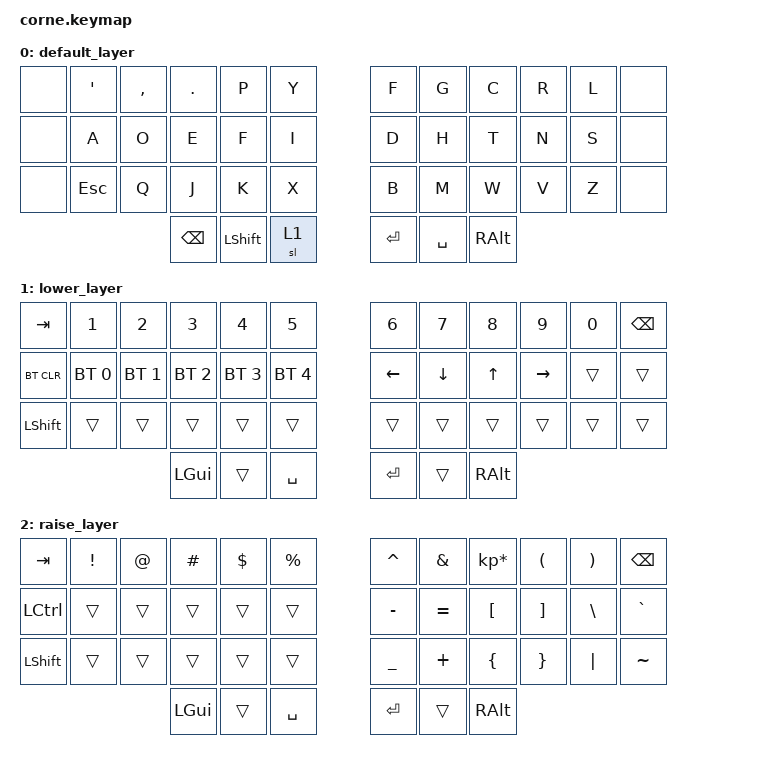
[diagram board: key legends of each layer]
/*
 * Copyright (c) 2020 The ZMK Contributors
 *
 * SPDX-License-Identifier: MIT
 */

#include <behaviors.dtsi>
#include <dt-bindings/zmk/bt.h>
#include <dt-bindings/zmk/keys.h>

/ {
    keymap {
        compatible = "zmk,keymap";

        default_layer {
            // -----------------------------------------------------------------------------------------
            // |  TAB |  Q  |  W  |  E  |  R  |  T  |   |  Y  |  U   |  I  |  O  |  P  | BKSP |
            // | CTRL |  A  |  S  |  D  |  F  |  G  |   |  H  |  J   |  K  |  L  |  ;  |  '   |
            // | SHFT |  Z  |  X  |  C  |  V  |  B  |   |  N  |  M   |  ,  |  .  |  /  | ESC  |
            //                    | GUI | LWR | SPC |   | ENT | RSE  | ALT |

            bindings = <
&none  &kp SINGLE_QUOTE  &kp COMMA     &kp PERIOD           &kp P  &kp Y      &kp F      &kp G     &kp C  &kp R  &kp L  &none
&none             &kp A      &kp O          &kp E           &kp F  &kp I      &kp D      &kp H     &kp T  &kp N  &kp S  &none
&none        &kp ESCAPE      &kp Q          &kp J           &kp K  &kp X      &kp B      &kp M     &kp W  &kp V  &kp Z  &none
                                    &kp BACKSPACE  &kp LEFT_SHIFT  &sl 1    &kp RET  &kp SPACE  &kp RALT
            >;
        };

        lower_layer {
            // -----------------------------------------------------------------------------------------
            // |  TAB |  1  |  2  |  3  |  4  |  5  |   |  6  |  7  |  8  |  9  |  0  | BKSP |
            // | BTCLR| BT1 | BT2 | BT3 | BT4 | BT5 |   | LFT | DWN |  UP | RGT |     |      |
            // | SHFT |     |     |     |     |     |   |     |     |     |     |     |      |
            //                    | GUI |     | SPC |   | ENT |     | ALT |

            bindings = <
   &kp TAB        &kp N1        &kp N2        &kp N3        &kp N4        &kp N5      &kp N6    &kp N7    &kp N8     &kp N9  &kp N0  &kp BSPC
&bt BT_CLR  &bt BT_SEL 0  &bt BT_SEL 1  &bt BT_SEL 2  &bt BT_SEL 3  &bt BT_SEL 4    &kp LEFT  &kp DOWN    &kp UP  &kp RIGHT  &trans    &trans
 &kp LSHFT        &trans        &trans        &trans        &trans        &trans      &trans    &trans    &trans     &trans  &trans    &trans
                                            &kp LGUI        &trans     &kp SPACE     &kp RET    &trans  &kp RALT
            >;
        };

        raise_layer {
            // -----------------------------------------------------------------------------------------
            // |  TAB |  !  |  @  |  #  |  $  |  %  |   |  ^  |  &  |  *  |  (  |  )  | BKSP |
            // | CTRL |     |     |     |     |     |   |  -  |  =  |  [  |  ]  |  \  |  `   |
            // | SHFT |     |     |     |     |     |   |  _  |  +  |  {  |  }  | "|" |  ~   |
            //                    | GUI |     | SPC |   | ENT |     | ALT |

            bindings = <
  &kp TAB  &kp EXCL  &kp AT  &kp HASH  &kp DLLR  &kp PRCNT    &kp CARET   &kp AMPS  &kp KP_MULTIPLY  &kp LPAR  &kp RPAR   &kp BSPC
&kp LCTRL    &trans  &trans    &trans    &trans     &trans    &kp MINUS  &kp EQUAL         &kp LBKT  &kp RBKT  &kp BSLH  &kp GRAVE
&kp LSHFT    &trans  &trans    &trans    &trans     &trans    &kp UNDER   &kp PLUS         &kp LBRC  &kp RBRC  &kp PIPE  &kp TILDE
                             &kp LGUI    &trans  &kp SPACE      &kp RET     &trans         &kp RALT
            >;
        };
    };
};
